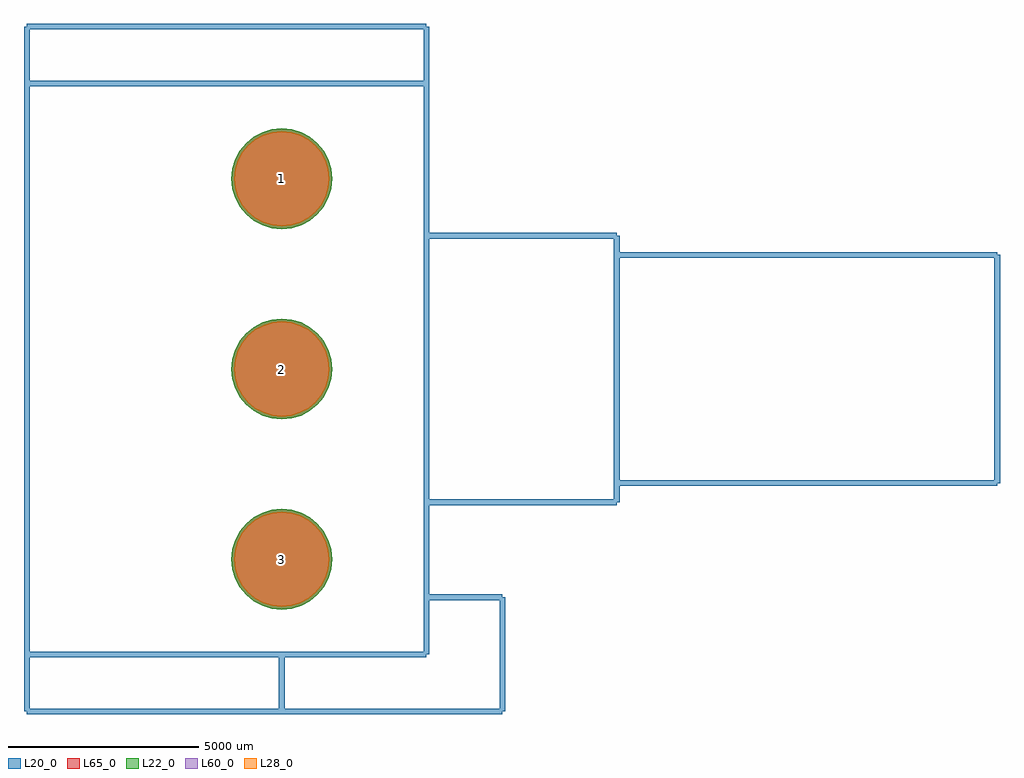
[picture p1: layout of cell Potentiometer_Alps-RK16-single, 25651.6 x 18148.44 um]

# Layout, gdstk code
import gdstk
lib = gdstk.Library(unit=1e-6, precision=1e-09)
def P(c, l, *ps):  # polygons
    for p in ps: c.add(gdstk.Polygon(p, *l))
L20_0 = (20, 0)
L22_0 = (22, 0)
L28_0 = (28, 0)
L60_0 = (60, 0)
L65_0 = (65, 0)

potentiometer_alps_rk16_ = lib.new_cell('Potentiometer_Alps-RK16-single')
P(potentiometer_alps_rk16_, L22_0, [(1324.68,0),(1299.227,258.432),(1223.845,506.933),(1101.431,735.953),(936.69,936.69),(735.953,1101.431),(506.933,1223.845),(258.432,1299.227),(0,1324.68),(-258.432,1299.227),(-506.933,1223.845),(-735.953,1101.431),(-936.69,936.69),(-1101.431,735.953),(-1223.845,506.933),(-1299.227,258.432),(-1324.68,0),(-1299.227,-258.432),(-1223.845,-506.933),(-1101.431,-735.953),(-936.69,-936.69),(-735.953,-1101.431),(-506.933,-1223.845),(-258.432,-1299.227),(0,-1324.68),(258.432,-1299.227),(506.933,-1223.845),(735.953,-1101.431),(936.69,-936.69),(1101.431,-735.953),(1223.845,-506.933),(1299.227,-258.432)],
  [(1324.68,-10002.52),(1299.227,-9744.088),(1223.845,-9495.587),(1101.431,-9266.567),(936.69,-9065.83),(735.953,-8901.089),(506.933,-8778.675),(258.432,-8703.293),(0,-8677.84),(-258.432,-8703.293),(-506.933,-8778.675),(-735.953,-8901.089),(-936.69,-9065.83),(-1101.431,-9266.567),(-1223.845,-9495.587),(-1299.227,-9744.088),(-1324.68,-10002.52),(-1299.227,-10260.952),(-1223.845,-10509.453),(-1101.431,-10738.473),(-936.69,-10939.21),(-735.953,-11103.951),(-506.933,-11226.365),(-258.432,-11301.747),(0,-11327.2),(258.432,-11301.747),(506.933,-11226.365),(735.953,-11103.951),(936.69,-10939.21),(1101.431,-10738.473),(1223.845,-10509.453),(1299.227,-10260.952)],
  [(1324.68,-5001.26),(1299.227,-4742.828),(1223.845,-4494.327),(1101.431,-4265.307),(936.69,-4064.57),(735.953,-3899.829),(506.933,-3777.415),(258.432,-3702.033),(0,-3676.58),(-258.432,-3702.033),(-506.933,-3777.415),(-735.953,-3899.829),(-936.69,-4064.57),(-1101.431,-4265.307),(-1223.845,-4494.327),(-1299.227,-4742.828),(-1324.68,-5001.26),(-1299.227,-5259.692),(-1223.845,-5508.193),(-1101.431,-5737.213),(-936.69,-5937.95),(-735.953,-6102.691),(-506.933,-6225.105),(-258.432,-6300.487),(0,-6325.94),(258.432,-6300.487),(506.933,-6225.105),(735.953,-6102.691),(936.69,-5937.95),(1101.431,-5737.213),(1223.845,-5508.193),(1299.227,-5259.692)])
P(potentiometer_alps_rk16_, L28_0, [(1249.68,0),(1225.668,243.8),(1154.554,478.232),(1039.071,694.285),(883.657,883.657),(694.285,1039.071),(478.232,1154.554),(243.8,1225.668),(0,1249.68),(-243.8,1225.668),(-478.232,1154.554),(-694.285,1039.071),(-883.657,883.657),(-1039.071,694.285),(-1154.554,478.232),(-1225.668,243.8),(-1249.68,0),(-1225.668,-243.8),(-1154.554,-478.232),(-1039.071,-694.285),(-883.657,-883.657),(-694.285,-1039.071),(-478.232,-1154.554),(-243.8,-1225.668),(0,-1249.68),(243.8,-1225.668),(478.232,-1154.554),(694.285,-1039.071),(883.657,-883.657),(1039.071,-694.285),(1154.554,-478.232),(1225.668,-243.8)],
  [(1249.68,-10002.52),(1225.668,-9758.72),(1154.554,-9524.288),(1039.071,-9308.235),(883.657,-9118.863),(694.285,-8963.449),(478.232,-8847.966),(243.8,-8776.852),(0,-8752.84),(-243.8,-8776.852),(-478.232,-8847.966),(-694.285,-8963.449),(-883.657,-9118.863),(-1039.071,-9308.235),(-1154.554,-9524.288),(-1225.668,-9758.72),(-1249.68,-10002.52),(-1225.668,-10246.32),(-1154.554,-10480.752),(-1039.071,-10696.805),(-883.657,-10886.177),(-694.285,-11041.591),(-478.232,-11157.074),(-243.8,-11228.188),(0,-11252.2),(243.8,-11228.188),(478.232,-11157.074),(694.285,-11041.591),(883.657,-10886.177),(1039.071,-10696.805),(1154.554,-10480.752),(1225.668,-10246.32)],
  [(1249.68,-5001.26),(1225.668,-4757.46),(1154.554,-4523.028),(1039.071,-4306.975),(883.657,-4117.603),(694.285,-3962.189),(478.232,-3846.706),(243.8,-3775.592),(0,-3751.58),(-243.8,-3775.592),(-478.232,-3846.706),(-694.285,-3962.189),(-883.657,-4117.603),(-1039.071,-4306.975),(-1154.554,-4523.028),(-1225.668,-4757.46),(-1249.68,-5001.26),(-1225.668,-5245.06),(-1154.554,-5479.492),(-1039.071,-5695.545),(-883.657,-5884.917),(-694.285,-6040.331),(-478.232,-6155.814),(-243.8,-6226.928),(0,-6250.94),(243.8,-6226.928),(478.232,-6155.814),(694.285,-6040.331),(883.657,-5884.917),(1039.071,-5695.545),(1154.554,-5479.492),(1225.668,-5245.06)])
P(potentiometer_alps_rk16_, L60_0, [(1249.68,0),(1225.668,243.8),(1154.554,478.232),(1039.071,694.285),(883.657,883.657),(694.285,1039.071),(478.232,1154.554),(243.8,1225.668),(0,1249.68),(-243.8,1225.668),(-478.232,1154.554),(-694.285,1039.071),(-883.657,883.657),(-1039.071,694.285),(-1154.554,478.232),(-1225.668,243.8),(-1249.68,0),(-1225.668,-243.8),(-1154.554,-478.232),(-1039.071,-694.285),(-883.657,-883.657),(-694.285,-1039.071),(-478.232,-1154.554),(-243.8,-1225.668),(0,-1249.68),(243.8,-1225.668),(478.232,-1154.554),(694.285,-1039.071),(883.657,-883.657),(1039.071,-694.285),(1154.554,-478.232),(1225.668,-243.8)],
  [(1249.68,-10002.52),(1225.668,-9758.72),(1154.554,-9524.288),(1039.071,-9308.235),(883.657,-9118.863),(694.285,-8963.449),(478.232,-8847.966),(243.8,-8776.852),(0,-8752.84),(-243.8,-8776.852),(-478.232,-8847.966),(-694.285,-8963.449),(-883.657,-9118.863),(-1039.071,-9308.235),(-1154.554,-9524.288),(-1225.668,-9758.72),(-1249.68,-10002.52),(-1225.668,-10246.32),(-1154.554,-10480.752),(-1039.071,-10696.805),(-883.657,-10886.177),(-694.285,-11041.591),(-478.232,-11157.074),(-243.8,-11228.188),(0,-11252.2),(243.8,-11228.188),(478.232,-11157.074),(694.285,-11041.591),(883.657,-10886.177),(1039.071,-10696.805),(1154.554,-10480.752),(1225.668,-10246.32)],
  [(1249.68,-5001.26),(1225.668,-4757.46),(1154.554,-4523.028),(1039.071,-4306.975),(883.657,-4117.603),(694.285,-3962.189),(478.232,-3846.706),(243.8,-3775.592),(0,-3751.58),(-243.8,-3775.592),(-478.232,-3846.706),(-694.285,-3962.189),(-883.657,-4117.603),(-1039.071,-4306.975),(-1154.554,-4523.028),(-1225.668,-4757.46),(-1249.68,-5001.26),(-1225.668,-5245.06),(-1154.554,-5479.492),(-1039.071,-5695.545),(-883.657,-5884.917),(-694.285,-6040.331),(-478.232,-6155.814),(-243.8,-6226.928),(0,-6250.94),(243.8,-6226.928),(478.232,-6155.814),(694.285,-6040.331),(883.657,-5884.917),(1039.071,-5695.545),(1154.554,-5479.492),(1225.668,-5245.06)])
P(potentiometer_alps_rk16_, L65_0, [(1324.68,0),(1299.227,258.432),(1223.845,506.933),(1101.431,735.953),(936.69,936.69),(735.953,1101.431),(506.933,1223.845),(258.432,1299.227),(0,1324.68),(-258.432,1299.227),(-506.933,1223.845),(-735.953,1101.431),(-936.69,936.69),(-1101.431,735.953),(-1223.845,506.933),(-1299.227,258.432),(-1324.68,0),(-1299.227,-258.432),(-1223.845,-506.933),(-1101.431,-735.953),(-936.69,-936.69),(-735.953,-1101.431),(-506.933,-1223.845),(-258.432,-1299.227),(0,-1324.68),(258.432,-1299.227),(506.933,-1223.845),(735.953,-1101.431),(936.69,-936.69),(1101.431,-735.953),(1223.845,-506.933),(1299.227,-258.432)],
  [(1324.68,-10002.52),(1299.227,-9744.088),(1223.845,-9495.587),(1101.431,-9266.567),(936.69,-9065.83),(735.953,-8901.089),(506.933,-8778.675),(258.432,-8703.293),(0,-8677.84),(-258.432,-8703.293),(-506.933,-8778.675),(-735.953,-8901.089),(-936.69,-9065.83),(-1101.431,-9266.567),(-1223.845,-9495.587),(-1299.227,-9744.088),(-1324.68,-10002.52),(-1299.227,-10260.952),(-1223.845,-10509.453),(-1101.431,-10738.473),(-936.69,-10939.21),(-735.953,-11103.951),(-506.933,-11226.365),(-258.432,-11301.747),(0,-11327.2),(258.432,-11301.747),(506.933,-11226.365),(735.953,-11103.951),(936.69,-10939.21),(1101.431,-10738.473),(1223.845,-10509.453),(1299.227,-10260.952)],
  [(1324.68,-5001.26),(1299.227,-4742.828),(1223.845,-4494.327),(1101.431,-4265.307),(936.69,-4064.57),(735.953,-3899.829),(506.933,-3777.415),(258.432,-3702.033),(0,-3676.58),(-258.432,-3702.033),(-506.933,-3777.415),(-735.953,-3899.829),(-936.69,-4064.57),(-1101.431,-4265.307),(-1223.845,-4494.327),(-1299.227,-4742.828),(-1324.68,-5001.26),(-1299.227,-5259.692),(-1223.845,-5508.193),(-1101.431,-5737.213),(-936.69,-5937.95),(-735.953,-6102.691),(-506.933,-6225.105),(-258.432,-6300.487),(0,-6325.94),(258.432,-6300.487),(506.933,-6225.105),(735.953,-6102.691),(936.69,-5937.95),(1101.431,-5737.213),(1223.845,-5508.193),(1299.227,-5259.692)])
potentiometer_alps_rk16_.add(gdstk.FlexPath([(3799.84,-12501.88),(3799.84,2499.36)], 149.998, ends="flush", simple_path=True, layer=20, datatype=0))  # L20_0
potentiometer_alps_rk16_.add(gdstk.FlexPath([(-6700.52,-12501.88),(3799.84,-12501.88)], 149.998, ends="flush", simple_path=True, layer=20, datatype=0))  # L20_0
potentiometer_alps_rk16_.add(gdstk.FlexPath([(-6700.52,2499.36),(-6700.52,-12501.88)], 149.998, ends="flush", simple_path=True, layer=20, datatype=0))  # L20_0
potentiometer_alps_rk16_.add(gdstk.FlexPath([(3799.84,2499.36),(-6700.52,2499.36)], 149.998, ends="flush", simple_path=True, layer=20, datatype=0))  # L20_0
potentiometer_alps_rk16_.add(gdstk.FlexPath([(8801.1,-8501.38),(3799.84,-8501.38)], 149.998, ends="flush", simple_path=True, layer=20, datatype=0))  # L20_0
potentiometer_alps_rk16_.add(gdstk.FlexPath([(8801.1,-1501.14),(8801.1,-8501.38)], 149.998, ends="flush", simple_path=True, layer=20, datatype=0))  # L20_0
potentiometer_alps_rk16_.add(gdstk.FlexPath([(3799.84,-1501.14),(8801.1,-1501.14)], 149.998, ends="flush", simple_path=True, layer=20, datatype=0))  # L20_0
potentiometer_alps_rk16_.add(gdstk.FlexPath([(18801.08,-8001),(8801.1,-8001)], 149.998, ends="flush", simple_path=True, layer=20, datatype=0))  # L20_0
potentiometer_alps_rk16_.add(gdstk.FlexPath([(18801.08,-2001.52),(18801.08,-8001)], 149.998, ends="flush", simple_path=True, layer=20, datatype=0))  # L20_0
potentiometer_alps_rk16_.add(gdstk.FlexPath([(8801.1,-2001.52),(18801.08,-2001.52)], 149.998, ends="flush", simple_path=True, layer=20, datatype=0))  # L20_0
potentiometer_alps_rk16_.add(gdstk.FlexPath([(0,-14000.48),(0,-12501.88)], 149.998, ends="flush", simple_path=True, layer=20, datatype=0))  # L20_0
potentiometer_alps_rk16_.add(gdstk.FlexPath([(5798.82,-14000.48),(0,-14000.48)], 149.998, ends="flush", simple_path=True, layer=20, datatype=0))  # L20_0
potentiometer_alps_rk16_.add(gdstk.FlexPath([(5798.82,-11000.74),(5798.82,-14000.48)], 149.998, ends="flush", simple_path=True, layer=20, datatype=0))  # L20_0
potentiometer_alps_rk16_.add(gdstk.FlexPath([(3799.84,-11000.74),(5798.82,-11000.74)], 149.998, ends="flush", simple_path=True, layer=20, datatype=0))  # L20_0
potentiometer_alps_rk16_.add(gdstk.FlexPath([(-6700.52,3997.96),(-6700.52,2499.36)], 149.998, ends="flush", simple_path=True, layer=20, datatype=0))  # L20_0
potentiometer_alps_rk16_.add(gdstk.FlexPath([(3799.84,3997.96),(-6700.52,3997.96)], 149.998, ends="flush", simple_path=True, layer=20, datatype=0))  # L20_0
potentiometer_alps_rk16_.add(gdstk.FlexPath([(3799.84,2499.36),(3799.84,3997.96)], 149.998, ends="flush", simple_path=True, layer=20, datatype=0))  # L20_0
potentiometer_alps_rk16_.add(gdstk.FlexPath([(-6700.52,-14000.48),(-6700.52,-12400.28)], 149.998, ends="flush", simple_path=True, layer=20, datatype=0))  # L20_0
potentiometer_alps_rk16_.add(gdstk.FlexPath([(0,-14000.48),(-6700.52,-14000.48)], 149.998, ends="flush", simple_path=True, layer=20, datatype=0))  # L20_0
potentiometer_alps_rk16_.add(gdstk.Label('1', (0,0), layer=28, texttype=0))
potentiometer_alps_rk16_.add(gdstk.Label('3', (0,-10002.52), layer=28, texttype=0))
potentiometer_alps_rk16_.add(gdstk.Label('2', (0,-5001.26), layer=28, texttype=0))
potentiometer_alps_rk16_.add(gdstk.Label('type', (0,-16431.26), layer=9, texttype=0))
potentiometer_alps_rk16_.add(gdstk.Label('devicename', (0,6428.74), layer=9, texttype=0))

lib.write_gds('Potentiometer_Alps-RK16-single.gds')
